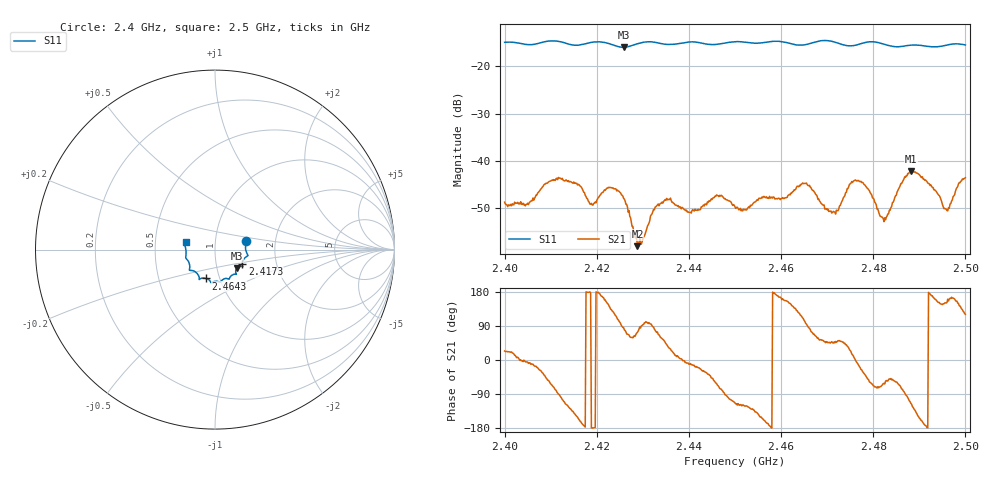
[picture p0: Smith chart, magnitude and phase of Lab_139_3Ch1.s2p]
# Hz S RI R 50
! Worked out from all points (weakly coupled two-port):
!   601 points, 2.4 GHz to 2.5 GHz, reference 50 ohm
!   highest |S21| = -42.28 dB at 2.4882 GHz (marker M1); lowest = -58.1 dB at 2.4288 GHz (marker M2)
!   lowest |S11| = -15.9 dB at 2.4258 GHz (marker M3), VSWR 1.38, Z = 62.3 - j13.3 ohm
!   |S11| at or under -10 dB: start of sweep to end of sweep
!   S12 and S22 are empty: the file has one direction only
!   S11 on the Smith chart (normalised r, x): 2.4 GHz: 1.41, +0.15; 2.4173 GHz: 1.34, -0.23; 2.4643 GHz: 0.86, -0.28; 2.5 GHz: 0.72, +0.06
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2.4e9  0.1733 0.0498  0.00332 0.00146  0 0  0 0
2.405e9  0.1699 0.0134  0.00352 -0.000346  0 0  0 0
2.411667e9  0.1812 -0.0358  1.36e-05 -0.00664  0 0  0 0
2.416667e9  0.1527 -0.0747  -0.00506 -0.00128  0 0  0 0
2.417333e9  0.1522 -0.0821  -0.00457 -0.000443  0 0  0 0
2.419e9  0.1534 -0.0948  -0.0034 -1.04e-05  0 0  0 0
2.422667e9  0.1474 -0.0933  -0.00409 0.00315  0 0  0 0
2.425833e9  0.1215 -0.1037  0.00033 0.00395  0 0  0 0
2.428833e9  0.1156 -0.1302  0.000353 0.00119  0 0  0 0
2.433333e9  0.113 -0.1368  0.00132 0.00321  0 0  0 0
2.440167e9  0.0794 -0.1637  0.00277 -0.000541  0 0  0 0
2.4465e9  0.044 -0.1669  0.00137 -0.00393  0 0  0 0
2.45e9  0.0295 -0.1809  -0.00128 -0.00296  0 0  0 0
2.464333e9  -0.0501 -0.1605  -0.00256 0.005  0 0  0 0
2.466667e9  -0.0762 -0.1599  0.00139 0.00475  0 0  0 0
2.4715e9  -0.0874 -0.1599  0.00193 0.00212  0 0  0 0
2.477167e9  -0.1283 -0.1165  0.00563 -0.00208  0 0  0 0
2.481833e9  -0.141 -0.1038  0.000967 -0.00233  0 0  0 0
2.483333e9  -0.1407 -0.0895  0.0017 -0.00214  0 0  0 0
2.488167e9  -0.1605 -0.0499  -0.0032 -0.007  0 0  0 0
2.495833e9  -0.1668 0.0181  -0.00267 0.00151  0 0  0 0
2.5e9  -0.1636 0.0421  -0.00336 0.00567  0 0  0 0
